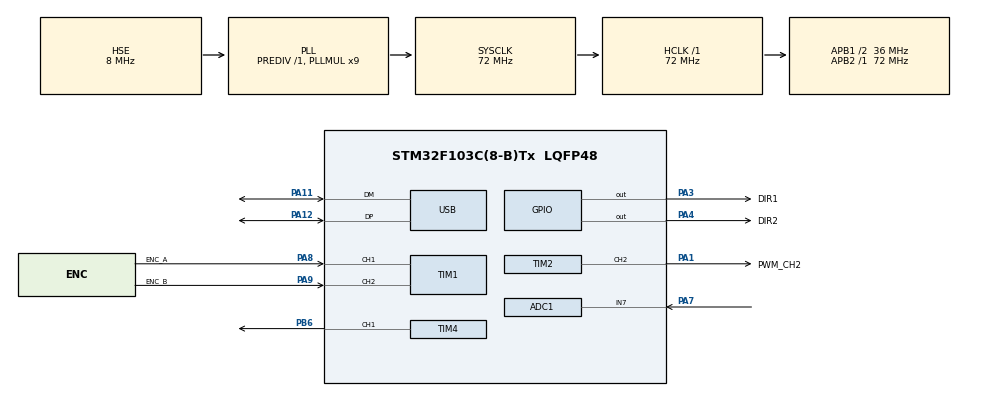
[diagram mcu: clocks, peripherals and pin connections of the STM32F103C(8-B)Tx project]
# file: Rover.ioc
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ADC1.Channel-3\#ChannelRegularConversion=ADC_CHANNEL_7
ADC1.NbrOfConversionFlag=1
ADC1.Rank-3\#ChannelRegularConversion=1
ADC1.SamplingTime-3\#ChannelRegularConversion=ADC_SAMPLETIME_1CYCLE_5
ADC1.master=1
Mcu.Family=STM32F1
Mcu.Name=STM32F103C(8-B)Tx
Mcu.Package=LQFP48
NVIC.PriorityGroup=NVIC_PRIORITYGROUP_4
NVIC.TIM3_IRQn=true\:2\:0\:true\:false\:true\:true\:true\:true
NVIC.USB_LP_CAN1_RX0_IRQn=true\:0\:0\:false\:false\:true\:false\:true\:true
PA1.GPIO_Label=PWM_CH2
PA1.Signal=S_TIM2_CH2
PA11.Mode=Device
PA11.Signal=USB_DM
PA12.Mode=Device
PA12.Signal=USB_DP
PA13.Mode=Serial_Wire
PA13.Signal=SYS_JTMS-SWDIO
PA14.Mode=Serial_Wire
PA14.Signal=SYS_JTCK-SWCLK
PA3.GPIO_Label=DIR1
PA3.Signal=GPIO_Output
PA4.GPIO_Label=DIR2
PA4.Signal=GPIO_Output
PA7.Signal=ADCx_IN7
PA8.GPIO_Label=ENC_A
PA8.Signal=S_TIM1_CH1
PA9.GPIO_Label=ENC_B
PA9.Signal=S_TIM1_CH2
PB6.Signal=S_TIM4_CH1
PD0-OSC_IN.Mode=HSE-External-Oscillator
PD0-OSC_IN.Signal=RCC_OSC_IN
PD1-OSC_OUT.Mode=HSE-External-Oscillator
PD1-OSC_OUT.Signal=RCC_OSC_OUT
ProjectManager.HeapSize=0x200
ProjectManager.StackSize=0x400
ProjectManager.TargetToolchain=Makefile
RCC.ADCPresc=RCC_ADCPCLK2_DIV6
RCC.AHBFreq_Value=72000000
RCC.APB1CLKDivider=RCC_HCLK_DIV2
RCC.APB1Freq_Value=36000000
RCC.APB1TimFreq_Value=72000000
RCC.APB2Freq_Value=72000000
RCC.APB2TimFreq_Value=72000000
RCC.HCLKFreq_Value=72000000
RCC.PLLMUL=RCC_PLL_MUL9
RCC.PLLSourceVirtual=RCC_PLLSOURCE_HSE
RCC.SYSCLKFreq_VALUE=72000000
RCC.SYSCLKSource=RCC_SYSCLKSOURCE_PLLCLK
RCC.USBFreq_Value=48000000
RCC.USBPrescaler=RCC_USBCLKSOURCE_PLL_DIV1_5
SH.ADCx_IN7.0=ADC1_IN7,IN7
SH.S_TIM1_CH1.0=TIM1_CH1,Encoder_Interface
SH.S_TIM1_CH2.0=TIM1_CH2,Encoder_Interface
SH.S_TIM2_CH2.0=TIM2_CH2,PWM Generation2 CH2
SH.S_TIM4_CH1.0=TIM4_CH1,PWM Generation1 CH1
TIM1.EncoderMode=TIM_ENCODERMODE_TI12
TIM1.IC1Filter=0
TIM1.IC2Filter=0
TIM2.AutoReloadPreload=TIM_AUTORELOAD_PRELOAD_ENABLE
TIM2.Channel-PWM\ Generation2\ CH2=TIM_CHANNEL_2
TIM2.Period=1000-1
TIM2.Prescaler=4-1
TIM3.Period=1000-1
TIM3.Prescaler=72-1
TIM4.Channel-PWM\ Generation1\ CH1=TIM_CHANNEL_1
TIM4.Period=1800-1
TIM4.Prescaler=800-1
USB_DEVICE.CLASS_NAME_FS=CDC
USB_DEVICE.VirtualMode=Cdc
USB_DEVICE.VirtualModeFS=Cdc_FS
VP_TIM2_VS_ClockSourceINT.Mode=Internal
VP_TIM3_VS_ClockSourceINT.Mode=Internal
VP_TIM4_VS_ClockSourceINT.Mode=Internal
VP_USB_DEVICE_VS_USB_DEVICE_CDC_FS.Mode=CDC_FS
board=custom

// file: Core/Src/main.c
/* USER CODE BEGIN Header */
/**
 ******************************************************************************
 * @file           : main.c
 * @brief          : Main program body
 ******************************************************************************
 * @attention
 *
 * Copyright (c) 2024 STMicroelectronics.
 * All rights reserved.
 *
 * This software is licensed under terms that can be found in the LICENSE file
 * in the root directory of this software component.
 * If no LICENSE file comes with this software, it is provided AS-IS.
 *
 ******************************************************************************
 */
/* USER CODE END Header */
#include "main.h"
#include "usb_device.h"

/* USER CODE BEGIN Includes */
#include "settings.h"
#include "servocontroller.h"
#include <stdio.h>
#include "string.h"
#include "usbd_cdc_if.h"
#include "global_vars.h"
/* USER CODE END Includes */

/* USER CODE BEGIN PD */
#define MAX_CMD_LEN 64
/* USER CODE END PD */

/* USER CODE BEGIN PM */
void USBRxHandler(uint8_t* buf, uint16_t len);
/* USER CODE END PM */

ADC_HandleTypeDef hadc1;

TIM_HandleTypeDef htim1;
TIM_HandleTypeDef htim2;
TIM_HandleTypeDef htim3;
TIM_HandleTypeDef htim4;

/* USER CODE BEGIN PV */

servocontrol_t servo1;

// Current
volatile float currentFeedback;
float voltage;
const float zeroVoltage = 1.65;
volatile uint16_t ADC = 0;
float current;
const uint32_t ADCrange = 4095;
uint8_t tim3_current_count = 0;

// USB
// volatile uint8_t USBRXDataReady = 0;
// uint8_t *USBRXDataBuffer;
// uint8_t USBRXDataLength = 0;
// char USBRXCommandBuffer[64];
/* USER CODE END PV */

void SystemClock_Config(void);
static void MX_GPIO_Init(void);
static void MX_TIM2_Init(void);
static void MX_TIM1_Init(void);
static void MX_TIM3_Init(void);
static void MX_TIM4_Init(void);
static void MX_ADC1_Init(void);
/* USER CODE BEGIN PFP */

void USBRxHandler(uint8_t *buf, uint16_t len) { {
  char command[20];
  char response[50];

  // Проверка на минимальную длину команды
  if (len < 1) return;

  // Копирование команды с защитой от переполнения
  uint16_t copy_len = (len < sizeof(command)) ? len : sizeof(command) - 1;
  memcpy(command, buf, copy_len);
  command[copy_len] = '\0';  // Гарантированное завершение строки

  // Remove trailing newline characters
  char *ptr = command;
  while (*ptr) {
    if (*ptr == '\r' || *ptr == '\n') {
      *ptr = '\0';
      break;
    }
    ptr++;
  }
  // Process STOP command
  if (strcmp(command, "STOP") == 0) {
    servo_controlVelocity(&servo1, 0.0f);
    snprintf(response, sizeof(response), "Motor stopped\r\n");
  }
  // Process forward/backward commands
  else if (command[0] == 'F' || command[0] == 'B') {
    char* endptr;
    float speed = strtof(command + 1, &endptr);
    // Validate number conversion
    if (endptr == command + 1) {
      snprintf(response, sizeof(response), "Error: Invalid speed format\r\n");
    }
    else {
      // Apply direction
      if (command[0] == 'B') speed = -speed;

      // Set velocity (rad/s)
      servo_controlVelocity(&servo1, speed);
      snprintf(response, sizeof(response), "Speed set: %.2f rad/s\r\n", encoder_getVelocity(&servo1.encoder, Angular));
    }
  }
  // Unknown command
  else {
    snprintf(response, sizeof(response), "Unknown command: %s\r\n", command);
  }
  // Send response
  // CDC_Transmit_FS((uint8_t*)response, strlen(response));
  }
  return;
}

void send_usb_data(void) {
  char buffer[64];

  // Формируем строку с данными
  uint16_t len = snprintf(buffer, sizeof(buffer),
      "Angle=%.2f, Vel=%.2f\r\n",
      encoder_getAngle(&servo1.encoder),
      encoder_getVelocity(&servo1.encoder, Angular));

  // Отправка по USB
  CDC_Transmit_FS((uint8_t*)buffer, strlen(buffer));
}

void HAL_ADC_ConvCpltCallback(ADC_HandleTypeDef* hadc)
  {
    if(hadc->Instance == ADC1) //check if the interrupt comes from ACD1
    {
        ADC = HAL_ADC_GetValue(&hadc1);
    }
    // if (htim->Instance == TIM3) // check if the interrupt comes from TIM1
    // {
    //   if (tim3_current_count >= 10) {
    //     tim3_current_count = 0;
    //     HAL_ADC_Start(&hadc1);               // запускаем преобразование сигнала АЦП
    //     HAL_ADC_PollForConversion(&hadc1, 9);
    //     ADC = HAL_ADC_GetValue(&hadc1);
    //     if(servo_getDirection(&servo1) == -1) {
    //       voltage = (ADC * 3.25f)/4095.0f;
    //     } else {
    //       voltage = ((ADC - 2050) * 3.25f)/4095.0f;
    //     }
    //     current = (voltage - 1.65f) * 5.0f;
    //     if(current < 0) {
    //       currentFeedback = -current;
    //     } else {
    //       currentFeedback = current;
    //     }
    //   } else { tim3_current_count++; }
    // }
  }

/* USER CODE END PFP */

int main(void)
{

  /* MCU Configuration--------------------------------------------------------*/

  /* Reset of all peripherals, Initializes the Flash interface and the Systick. */
  HAL_Init();

  /* Configure the system clock */
  SystemClock_Config();

  /* Initialize all configured peripherals */
  MX_GPIO_Init();
  MX_TIM2_Init();
  MX_TIM1_Init();
  MX_TIM3_Init();
  MX_TIM4_Init();
  MX_USB_DEVICE_Init();
  MX_ADC1_Init();
  /* USER CODE BEGIN 2 */

  // инициализация контуров
  servo_baseInit(&servo1, Double, MOTOR_SPEED, GEAR_RATIO, REVERCE);
  servo_encoderInit(&servo1, &htim1, E_CPR);
  servo_driverInit(&servo1, &htim2, 2, DIR1_GPIO_Port, DIR1_Pin, DIR2_GPIO_Port, DIR2_Pin, MIN_DUTY, MAX_DUTE);
  servo_positionInit(&servo1, ANG_KP, ANG_KI, ANG_KD, ANG_DT, ANG_KT);
  servo_velocityInit(&servo1, VEL_KP, VEL_KI, VEL_KD, VEL_DT, VEL_KT);
  __HAL_TIM_CLEAR_IT(&htim1, TIM_IT_UPDATE);

  HAL_TIM_Encoder_Start(&htim1, TIM_CHANNEL_ALL);

  HAL_ADCEx_Calibration_Start(&hadc1); // Калибровка ADC
  HAL_ADC_Start_IT(&hadc1);

  HAL_TIM_PWM_Start(&htim2, TIM_CHANNEL_2); // инициализация PWM
  if (SERVO_FLAG) { HAL_TIM_PWM_Start(&htim4, TIM_CHANNEL_1); } // инициализация PWM

  HAL_TIM_Base_Start_IT(&htim3);
  HAL_TIM_Base_Start_IT(&htim4);
  encoder_reset(&servo1.encoder);

  /* USER CODE END 2 */

  /* Infinite loop */
  while (1)
  {

    /* USER CODE BEGIN 3 */

    if(usb_ready_flag) {
      send_usb_data();
      usb_ready_flag = 0;
    }

    // CDC_Transmit_FS((uint8_t*)response, strlen(response));
    // servo_controlVelocity(&servo1, VELvalue);              // 0 - 15
    // htim4.Instance->CCR1 = PWM_servo + SERVO_ADJUSTMENT;   // 0 - 180

    // servo_controlPosition(&servo1, ANGvalue);
  }
  /* USER CODE END 3 */
}

void SystemClock_Config(void)
{
  RCC_OscInitTypeDef RCC_OscInitStruct = {0};
  RCC_ClkInitTypeDef RCC_ClkInitStruct = {0};
  RCC_PeriphCLKInitTypeDef PeriphClkInit = {0};

  /** Initializes the RCC Oscillators according to the specified parameters
  * in the RCC_OscInitTypeDef structure.
  */
  RCC_OscInitStruct.OscillatorType = RCC_OSCILLATORTYPE_HSE;
  RCC_OscInitStruct.HSEState = RCC_HSE_ON;
  RCC_OscInitStruct.HSEPredivValue = RCC_HSE_PREDIV_DIV1;
  RCC_OscInitStruct.HSIState = RCC_HSI_ON;
  RCC_OscInitStruct.PLL.PLLState = RCC_PLL_ON;
  RCC_OscInitStruct.PLL.PLLSource = RCC_PLLSOURCE_HSE;
  RCC_OscInitStruct.PLL.PLLMUL = RCC_PLL_MUL9;
  if (HAL_RCC_OscConfig(&RCC_OscInitStruct) != HAL_OK)
  {
    Error_Handler();
  }

  /** Initializes the CPU, AHB and APB buses clocks
  */
  RCC_ClkInitStruct.ClockType = RCC_CLOCKTYPE_HCLK|RCC_CLOCKTYPE_SYSCLK
                              |RCC_CLOCKTYPE_PCLK1|RCC_CLOCKTYPE_PCLK2;
  RCC_ClkInitStruct.SYSCLKSource = RCC_SYSCLKSOURCE_PLLCLK;
  RCC_ClkInitStruct.AHBCLKDivider = RCC_SYSCLK_DIV1;
  RCC_ClkInitStruct.APB1CLKDivider = RCC_HCLK_DIV2;
  RCC_ClkInitStruct.APB2CLKDivider = RCC_HCLK_DIV1;

  if (HAL_RCC_ClockConfig(&RCC_ClkInitStruct, FLASH_LATENCY_2) != HAL_OK)
  {
    Error_Handler();
  }
  PeriphClkInit.PeriphClockSelection = RCC_PERIPHCLK_ADC|RCC_PERIPHCLK_USB;
  PeriphClkInit.AdcClockSelection = RCC_ADCPCLK2_DIV6;
  PeriphClkInit.UsbClockSelection = RCC_USBCLKSOURCE_PLL_DIV1_5;
  if (HAL_RCCEx_PeriphCLKConfig(&PeriphClkInit) != HAL_OK)
  {
    Error_Handler();
  }
}

static void MX_ADC1_Init(void)
{

  ADC_ChannelConfTypeDef sConfig = {0};

  /** Common config
  */
  hadc1.Instance = ADC1;
  hadc1.Init.ScanConvMode = ADC_SCAN_DISABLE;
  hadc1.Init.ContinuousConvMode = DISABLE;
  hadc1.Init.DiscontinuousConvMode = DISABLE;
  hadc1.Init.ExternalTrigConv = ADC_EXTERNALTRIGCONV_T2_CC2;
  hadc1.Init.DataAlign = ADC_DATAALIGN_RIGHT;
  hadc1.Init.NbrOfConversion = 1;
  if (HAL_ADC_Init(&hadc1) != HAL_OK)
  {
    Error_Handler();
  }

  /** Configure Regular Channel
  */
  sConfig.Channel = ADC_CHANNEL_7;
  sConfig.Rank = ADC_REGULAR_RANK_1;
  sConfig.SamplingTime = ADC_SAMPLETIME_1CYCLE_5;
  if (HAL_ADC_ConfigChannel(&hadc1, &sConfig) != HAL_OK)
  {
    Error_Handler();
  }

}

static void MX_TIM1_Init(void)
{

  TIM_Encoder_InitTypeDef sConfig = {0};
  TIM_MasterConfigTypeDef sMasterConfig = {0};

  htim1.Instance = TIM1;
  htim1.Init.Prescaler = 0;
  htim1.Init.CounterMode = TIM_COUNTERMODE_UP;
  htim1.Init.Period = 65535;
  htim1.Init.ClockDivision = TIM_CLOCKDIVISION_DIV1;
  htim1.Init.RepetitionCounter = 0;
  htim1.Init.AutoReloadPreload = TIM_AUTORELOAD_PRELOAD_DISABLE;
  sConfig.EncoderMode = TIM_ENCODERMODE_TI12;
  sConfig.IC1Polarity = TIM_ICPOLARITY_RISING;
  sConfig.IC1Selection = TIM_ICSELECTION_DIRECTTI;
  sConfig.IC1Prescaler = TIM_ICPSC_DIV1;
  sConfig.IC1Filter = 0;
  sConfig.IC2Polarity = TIM_ICPOLARITY_RISING;
  sConfig.IC2Selection = TIM_ICSELECTION_DIRECTTI;
  sConfig.IC2Prescaler = TIM_ICPSC_DIV1;
  sConfig.IC2Filter = 0;
  if (HAL_TIM_Encoder_Init(&htim1, &sConfig) != HAL_OK)
  {
    Error_Handler();
  }
  sMasterConfig.MasterOutputTrigger = TIM_TRGO_RESET;
  sMasterConfig.MasterSlaveMode = TIM_MASTERSLAVEMODE_DISABLE;
  if (HAL_TIMEx_MasterConfigSynchronization(&htim1, &sMasterConfig) != HAL_OK)
  {
    Error_Handler();
  }

}

static void MX_TIM2_Init(void)
{

  TIM_ClockConfigTypeDef sClockSourceConfig = {0};
  TIM_MasterConfigTypeDef sMasterConfig = {0};
  TIM_OC_InitTypeDef sConfigOC = {0};

  htim2.Instance = TIM2;
  htim2.Init.Prescaler = 2-1;
  htim2.Init.CounterMode = TIM_COUNTERMODE_CENTERALIGNED2;
  htim2.Init.Period = 1000-1;
  htim2.Init.ClockDivision = TIM_CLOCKDIVISION_DIV1;
  htim2.Init.AutoReloadPreload = TIM_AUTORELOAD_PRELOAD_ENABLE;
  if (HAL_TIM_Base_Init(&htim2) != HAL_OK)
  {
    Error_Handler();
  }
  sClockSourceConfig.ClockSource = TIM_CLOCKSOURCE_INTERNAL;
  if (HAL_TIM_ConfigClockSource(&htim2, &sClockSourceConfig) != HAL_OK)
  {
    Error_Handler();
  }
  if (HAL_TIM_PWM_Init(&htim2) != HAL_OK)
  {
    Error_Handler();
  }
  sMasterConfig.MasterOutputTrigger = TIM_TRGO_UPDATE;
  sMasterConfig.MasterSlaveMode = TIM_MASTERSLAVEMODE_DISABLE;
  if (HAL_TIMEx_MasterConfigSynchronization(&htim2, &sMasterConfig) != HAL_OK)
  {
    Error_Handler();
  }
  sConfigOC.OCMode = TIM_OCMODE_PWM1;
  sConfigOC.Pulse = 0;
  sConfigOC.OCPolarity = TIM_OCPOLARITY_HIGH;
  sConfigOC.OCFastMode = TIM_OCFAST_DISABLE;
  if (HAL_TIM_PWM_ConfigChannel(&htim2, &sConfigOC, TIM_CHANNEL_2) != HAL_OK)
  {
    Error_Handler();
  }
  HAL_TIM_MspPostInit(&htim2);

}

static void MX_TIM3_Init(void)
{

  TIM_ClockConfigTypeDef sClockSourceConfig = {0};
  TIM_MasterConfigTypeDef sMasterConfig = {0};

  htim3.Instance = TIM3;
  htim3.Init.Prescaler = 72-1;
  htim3.Init.CounterMode = TIM_COUNTERMODE_UP;
  htim3.Init.Period = 1000-1;
  htim3.Init.ClockDivision = TIM_CLOCKDIVISION_DIV1;
  htim3.Init.AutoReloadPreload = TIM_AUTORELOAD_PRELOAD_DISABLE;
  if (HAL_TIM_Base_Init(&htim3) != HAL_OK)
  {
    Error_Handler();
  }
  sClockSourceConfig.ClockSource = TIM_CLOCKSOURCE_INTERNAL;
  if (HAL_TIM_ConfigClockSource(&htim3, &sClockSourceConfig) != HAL_OK)
  {
    Error_Handler();
  }
  sMasterConfig.MasterOutputTrigger = TIM_TRGO_RESET;
  sMasterConfig.MasterSlaveMode = TIM_MASTERSLAVEMODE_DISABLE;
  if (HAL_TIMEx_MasterConfigSynchronization(&htim3, &sMasterConfig) != HAL_OK)
  {
    Error_Handler();
  }

}

static void MX_TIM4_Init(void)
{

  TIM_ClockConfigTypeDef sClockSourceConfig = {0};
  TIM_MasterConfigTypeDef sMasterConfig = {0};
  TIM_OC_InitTypeDef sConfigOC = {0};

  htim4.Instance = TIM4;
  htim4.Init.Prescaler = 800-1;
  htim4.Init.CounterMode = TIM_COUNTERMODE_UP;
  htim4.Init.Period = 1800-1;
  htim4.Init.ClockDivision = TIM_CLOCKDIVISION_DIV1;
  htim4.Init.AutoReloadPreload = TIM_AUTORELOAD_PRELOAD_DISABLE;
  if (HAL_TIM_Base_Init(&htim4) != HAL_OK)
  {
    Error_Handler();
  }
  sClockSourceConfig.ClockSource = TIM_CLOCKSOURCE_INTERNAL;
  if (HAL_TIM_ConfigClockSource(&htim4, &sClockSourceConfig) != HAL_OK)
  {
    Error_Handler();
  }
  if (HAL_TIM_PWM_Init(&htim4) != HAL_OK)
  {
    Error_Handler();
  }
  sMasterConfig.MasterOutputTrigger = TIM_TRGO_RESET;
  sMasterConfig.MasterSlaveMode = TIM_MASTERSLAVEMODE_DISABLE;
  if (HAL_TIMEx_MasterConfigSynchronization(&htim4, &sMasterConfig) != HAL_OK)
  {
    Error_Handler();
  }
  sConfigOC.OCMode = TIM_OCMODE_PWM1;
  sConfigOC.Pulse = 0;
  sConfigOC.OCPolarity = TIM_OCPOLARITY_HIGH;
  sConfigOC.OCFastMode = TIM_OCFAST_DISABLE;
  if (HAL_TIM_PWM_ConfigChannel(&htim4, &sConfigOC, TIM_CHANNEL_1) != HAL_OK)
  {
    Error_Handler();
  }
  HAL_TIM_MspPostInit(&htim4);

}

static void MX_GPIO_Init(void)
{
  GPIO_InitTypeDef GPIO_InitStruct = {0};

  /* GPIO Ports Clock Enable */
  __HAL_RCC_GPIOD_CLK_ENABLE();
  __HAL_RCC_GPIOA_CLK_ENABLE();
  __HAL_RCC_GPIOB_CLK_ENABLE();

  /*Configure GPIO pin Output Level */
  HAL_GPIO_WritePin(GPIOA, DIR1_Pin|DIR2_Pin, GPIO_PIN_RESET);

  /*Configure GPIO pins : DIR1_Pin DIR2_Pin */
  GPIO_InitStruct.Pin = DIR1_Pin|DIR2_Pin;
  GPIO_InitStruct.Mode = GPIO_MODE_OUTPUT_PP;
  GPIO_InitStruct.Pull = GPIO_NOPULL;
  GPIO_InitStruct.Speed = GPIO_SPEED_FREQ_LOW;
  HAL_GPIO_Init(GPIOA, &GPIO_InitStruct);

}

void Error_Handler(void)
{
  /* USER CODE BEGIN Error_Handler_Debug */
  /* User can add his own implementation to report the HAL error return state */
  __disable_irq();
  while (1) {
    // HAL_GPIO_TogglePin(GPIOC, GPIO_PIN_13);
    // HAL_Delay(100);
  }
  /* USER CODE END Error_Handler_Debug */
}
